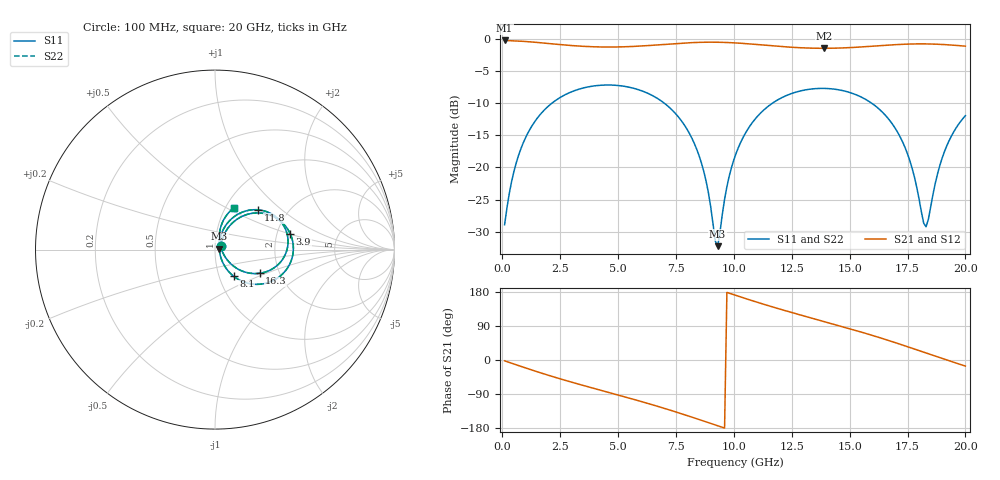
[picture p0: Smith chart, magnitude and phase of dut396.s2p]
! Touchstone file exported from HFSS 2026.1.0
!  File:  C:/ffzhzh/LocalFiles/Ansys_Project_Files/temp_train_TSV_RDL_396_1783091711_35180.aedt
!  Generated:  11:37:41 PM Jul  3, 2026
!  Design:  TSV_RDL
!  Project:  temp_train_TSV_RDL_396_1783091711_35180
! Variables:
!  h_bsmrdl = 5.71um
!  h_ox = 20um
!  h_rdl = 5um
!  h_sub = 85.99um
!  h_tmrdl = 5.54um
!  h_tsv = 85.99um
!  h_via = 3um
!  l_bsmrdl = 984.6um
!  l_sub = 6204.18um
!  l_tmrdl = 677.96um
!  m_sub = 200um
!  pitch = 42.5um
!  r_tsv = 2.13um
!  s_tmrdl = 10um
!  w_bsmrdl = 28.63um
!  w_sub = 500um
!  w_tmrdl = 17.55um
!  x_tsv_center1 = 686.735um
!  x_tsv_center2 = 1699.965um
!  x_tsv_center3 = 2395.475um
!  x_tsv_center4 = 3408.705um
!  x_tsv_center5 = 4104.215um
!  x_tsv_center6 = 5117.445um
# GHz S MA R 50.000000
! Terminal data exported
! Port[1] = TM_RDL1_1_T1
! Port[2] = TM_RDL5_1_T1
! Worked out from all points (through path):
!   200 points, 100 MHz to 20 GHz, reference 50 ohm
!   highest |S21| = -0.27 dB at 100 MHz (marker M1); lowest = -1.5 dB at 13.9 GHz (marker M2)
!   group delay of S21, straight-line fit = 51.6 ps
!   lowest |S11| = -32.2 dB at 9.3 GHz (marker M3), VSWR 1.05, Z = 52.4 + j0.588 ohm
!   |S11| at or under -10 dB: start of sweep to 2.151 GHz; 6.989 GHz to 11.68 GHz (4.686 GHz wide, 50.2 % of centre); 15.94 GHz to end of sweep
!   |S22| runs from -32.2 to -7.2 dB; largest |S21 - S12| = 1.6e-14
!   S11 on the Smith chart (normalised r, x): 100 MHz: 1.06, +0.04; 3.9 GHz: 2.36, +0.51; 8.1 GHz: 1.17, -0.36; 11.8 GHz: 1.43, +0.71; 16.3 GHz: 1.58, -0.45; 20 GHz: 1.09, +0.54
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0.1  0.03584 29.7  0.9694 -2.2  0.9694 -2.2  0.03584 29.7
! Gamma 0 0 0 0
! Port Impedance 50 0 50 0
0.5  0.09259 58.3  0.9629 -10.6  0.9629 -10.6  0.09259 58.3
1.2  0.1986 55.0  0.9456 -24.9  0.9456 -24.9  0.1986 55.0
2.2  0.3213 39.4  0.9106 -44.2  0.9106 -44.2  0.3213 39.4
3.5  0.4142 18.3  0.8727 -67.2  0.8727 -67.2  0.4142 18.3
3.9  0.4281 11.9  0.8661 -74.0  0.8661 -74.0  0.4281 11.9
6.8  0.3345 -34.5  0.898 -123.9  0.898 -123.9  0.3345 -34.4
8.1  0.181 -55.1  0.9309 -149.0  0.9309 -149.0  0.181 -55.0
8.7  0.09329 -59.5  0.9389 -161.2  0.9389 -161.2  0.09329 -59.4
9.3  0.02442 13.3  0.9391 -173.5  0.9391 -173.5  0.02462 13.3
9.7  0.07079 65.9  0.9346 178.3  0.9346 178.3  0.07091 65.8
10.1  0.129 67.2  0.927 170.2  0.927 170.2  0.1291 67.2
10.8  0.223 58.5  0.9078 156.4  0.9078 156.4  0.2231 58.5
11.8  0.3271 42.6  0.8766 137.7  0.8766 137.7  0.3271 42.6
13.4  0.4075 17.3  0.8444 109.9  0.8444 109.9  0.4076 17.4
13.9  0.411 9.6  0.8424 101.5  0.8424 101.5  0.4111 9.6
16.3  0.2812 -28.0  0.8828 58.9  0.8828 58.9  0.2813 -28.0
16.7  0.2355 -34.0  0.8928 51.2  0.8928 51.2  0.2355 -33.9
17.5  0.1274 -42.0  0.9081 35.1  0.9081 35.1  0.1275 -41.8
18.3  0.03456 21.5  0.9114 18.5  0.9114 18.5  0.03496 21.4
19  0.1187 75.8  0.9023 4.0  0.9023 4.0  0.1188 75.6
20  0.2523 65.9  0.8753 -16.0  0.8753 -16.0  0.2523 65.8
